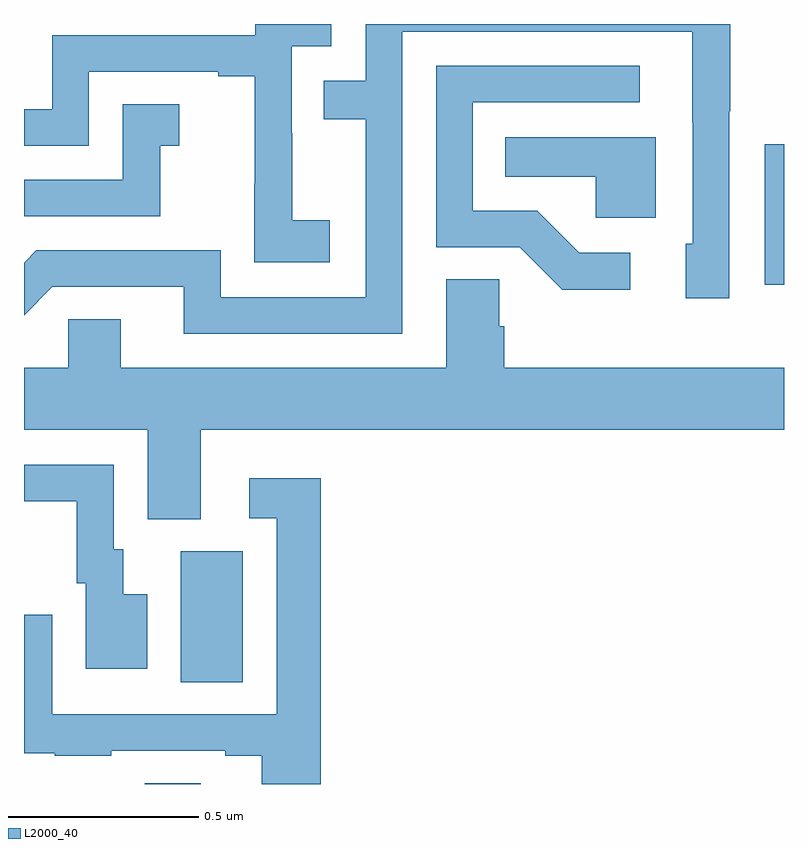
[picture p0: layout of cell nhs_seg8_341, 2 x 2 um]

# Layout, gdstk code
import gdstk
lib = gdstk.Library(unit=1e-6, precision=1e-09)
def R(c, l, rs):  # rectangles x0, y0, x1, y1
    for r in rs: c.add(gdstk.rectangle(r[:2], r[2:], *l))
def P(c, l, *ps):  # polygons
    for p in ps: c.add(gdstk.Polygon(p, *l))
L2000_40 = (2000, 40)

nhs_seg8_341 = lib.new_cell('nhs_seg8_341')
R(nhs_seg8_341, L2000_40, [(115.318,1116.9,115.465,1116.902), (115.412,1117.168,115.576,1117.512), (116.949,1118.214,117,1118.584)])
P(nhs_seg8_341, L2000_40, [(115.995,1118.88),(116.759,1118.88),(116.759,1118.641),(116.76,1118.641),(116.76,1118.322),(116.741,1118.322),(116.741,1118.178),(116.856,1118.178),(116.856,1118.671),(116.859,1118.671),(116.859,1118.9),(115.899,1118.9),(115.899,1118.751),(115.789,1118.751),(115.789,1118.65),(115.899,1118.65),(115.899,1118.181),(115.518,1118.181),(115.518,1118.304),(115.032,1118.304),(115,1118.272),(115,1118.134),(115.074,1118.208),(115.421,1118.208),(115.421,1118.085),(115.995,1118.085)],
  [(115.804,1118.383),(115.706,1118.383),(115.706,1118.612),(115.704,1118.612),(115.704,1118.841),(115.809,1118.841),(115.809,1118.9),(115.608,1118.9),(115.608,1118.871),(115.074,1118.871),(115.074,1118.676),(115,1118.676),(115,1118.58),(115.17,1118.58),(115.17,1118.775),(115.511,1118.775),(115.511,1118.763),(115.607,1118.763),(115.607,1118.479),(115.606,1118.479),(115.606,1118.273),(115.804,1118.273)],
  [(116.596,1118.298),(116.461,1118.298),(116.35,1118.409),(116.181,1118.409),(116.181,1118.694),(116.62,1118.694),(116.62,1118.79),(116.085,1118.79),(116.085,1118.313),(116.304,1118.313),(116.417,1118.201),(116.596,1118.201)],
  [(115.359,1118.579),(115.408,1118.579),(115.408,1118.689),(115.26,1118.689),(115.26,1118.49),(115,1118.49),(115,1118.394),(115.359,1118.394)],
  [(116.662,1118.602),(116.266,1118.602),(116.266,1118.498),(116.505,1118.498),(116.505,1118.39),(116.662,1118.39)],
  [(115.465,1117.832),(117,1117.832),(117,1117.996),(116.264,1117.996),(116.264,1118.105),(116.25,1118.105),(116.25,1118.228),(116.111,1118.228),(116.111,1117.996),(115.255,1117.996),(115.255,1118.123),(115.116,1118.123),(115.116,1117.996),(115,1117.996),(115,1117.832),(115.325,1117.832),(115.325,1117.597),(115.465,1117.597)],
  [(115.324,1117.399),(115.261,1117.399),(115.261,1117.518),(115.236,1117.518),(115.236,1117.74),(115,1117.74),(115,1117.644),(115.139,1117.644),(115.139,1117.428),(115.163,1117.428),(115.163,1117.203),(115.324,1117.203)],
  [(115.781,1117.705),(115.593,1117.705),(115.593,1117.599),(115.665,1117.599),(115.665,1117.083),(115.074,1117.083),(115.074,1117.345),(115,1117.345),(115,1116.981),(115.081,1116.981),(115.081,1116.975),(115.229,1116.975),(115.229,1116.987),(115.529,1116.987),(115.529,1116.975),(115.625,1116.975),(115.625,1116.9),(115.781,1116.9)])

lib.write_gds('nhs_seg8_341.gds')
